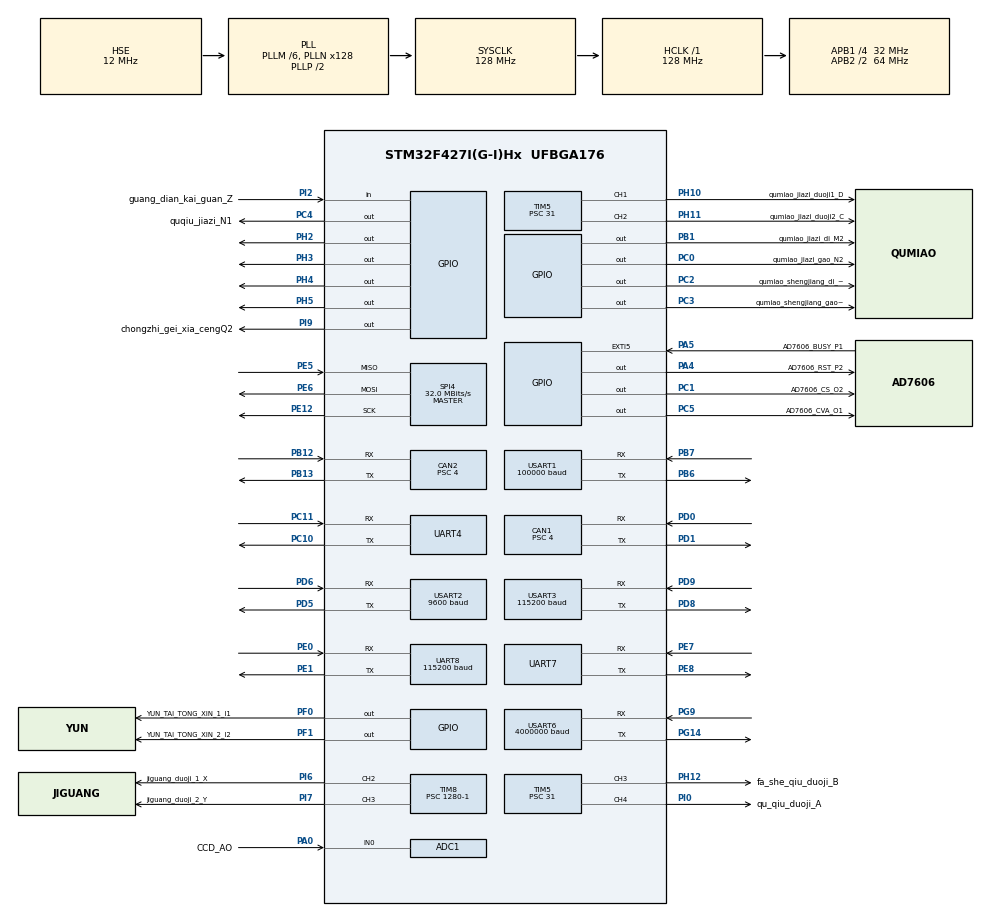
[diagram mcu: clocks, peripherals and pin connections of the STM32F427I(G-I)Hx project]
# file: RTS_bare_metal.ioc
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ADC1.Channel-0\#ChannelRegularConversion=ADC_CHANNEL_0
ADC1.NbrOfConversionFlag=1
ADC1.Rank-0\#ChannelRegularConversion=1
ADC1.SamplingTime-0\#ChannelRegularConversion=ADC_SAMPLETIME_3CYCLES
ADC1.master=1
CAN1.ABOM=DISABLE
CAN1.BS1=CAN_BS1_5TQ
CAN1.BS2=CAN_BS2_2TQ
CAN1.CalculateBaudRate=1000000
CAN1.CalculateTimeBit=1000
CAN1.CalculateTimeQuantum=125.0
CAN1.Mode=CAN_MODE_NORMAL
CAN1.NART=DISABLE
CAN1.Prescaler=4
CAN1.TXFP=DISABLE
CAN2.BS1=CAN_BS1_5TQ
CAN2.BS2=CAN_BS2_2TQ
CAN2.CalculateBaudRate=1000000
CAN2.CalculateTimeBit=1000
CAN2.CalculateTimeQuantum=125.0
CAN2.NART=DISABLE
CAN2.Prescaler=4
FREERTOS.Tasks01=defaultTask,24,128,StartDefaultTask,Default,NULL,Dynamic,NULL,NULL;M3508control,8,128,M3508controlTask,Default,NULL,Dynamic,NULL,NULL;myTest,8,128,myTestTask,Default,NULL,Dynamic,NULL,NULL;M8010control,8,128,M8010controlTask,Default,NULL,Dynamic,NULL,NULL;DS5160_duoji,8,128,DS5160,Default,NULL,Dynamic,NULL,NULL;shoot,8,128,shoot_task,Default,NULL,Dynamic,NULL,NULL;transmit_zero,8,128,transmit_zero_,Default,NULL,Dynamic,NULL,NULL;chuansongdai,8,128,chuansongdai_Task,Default,NULL,Dynamic,NULL,NULL;CCD,8,128,CCDTask,Default,NULL,Dynamic,NULL,NULL;GM6020,8,128,GM6020Task,Default,NULL,Dynamic,NULL,NULL;jiguang,8,128,jiguang_task,Default,NULL,Dynamic,NULL,NULL;IMU,8,128,IMU_TASK,Default,NULL,Dynamic,NULL,NULL
FREERTOS.configUSE_PREEMPTION=1
Mcu.Family=STM32F4
Mcu.Name=STM32F427I(G-I)Hx
Mcu.Package=UFBGA176
NVIC.CAN1_RX0_IRQn=true\:5\:0\:false\:false\:true\:true\:true\:true\:true
NVIC.CAN1_TX_IRQn=true\:5\:0\:false\:false\:true\:true\:true\:true\:true
NVIC.CAN2_RX1_IRQn=true\:5\:0\:false\:false\:true\:true\:true\:true\:true
NVIC.CAN2_TX_IRQn=true\:5\:0\:false\:false\:true\:true\:true\:true\:true
NVIC.EXTI9_5_IRQn=true\:5\:0\:false\:false\:true\:true\:true\:true\:true
NVIC.PriorityGroup=NVIC_PRIORITYGROUP_4
NVIC.UART4_IRQn=true\:5\:0\:false\:false\:true\:true\:true\:true\:true
NVIC.UART7_IRQn=true\:5\:0\:false\:false\:true\:true\:true\:true\:true
NVIC.UART8_IRQn=true\:5\:0\:false\:false\:true\:true\:true\:true\:true
NVIC.USART1_IRQn=true\:5\:0\:false\:false\:true\:true\:true\:true\:true
NVIC.USART2_IRQn=true\:5\:0\:false\:false\:true\:true\:true\:true\:true
NVIC.USART3_IRQn=true\:5\:0\:false\:false\:true\:true\:true\:true\:true
NVIC.USART6_IRQn=true\:5\:0\:false\:false\:true\:true\:true\:true\:true
PA0/WKUP.GPIO_Label=CCD_AO
PA0/WKUP.Signal=ADCx_IN0
PA1.Signal=S_TIM2_CH2
PA2.Signal=S_TIM2_CH3
PA3.Signal=S_TIM2_CH4
PA4.GPIO_Label=AD7606_RST_P2
PA4.Signal=GPIO_Output
PA5.GPIO_Label=AD7606_BUSY_P1
PA5.GPIO_ModeDefaultEXTI=GPIO_MODE_IT_FALLING
PA5.GPIO_PuPd=GPIO_PULLUP
PA5.Signal=GPXTI5
PB1.GPIO_Label=qumiao_jiazi_di_M2
PB1.Signal=GPIO_Output
PB12.Mode=CAN_Activate
PB12.Signal=CAN2_RX
PB13.Mode=CAN_Activate
PB13.Signal=CAN2_TX
PB6.Mode=Asynchronous
PB6.Signal=USART1_TX
PB7.Mode=Asynchronous
PB7.Signal=USART1_RX
PC0.GPIO_Label=qumiao_jiazi_gao_N2
PC0.Signal=GPIO_Output
PC1.GPIO_Label=AD7606_CS_O2
PC1.PinState=GPIO_PIN_SET
PC1.Signal=GPIO_Output
PC10.Mode=Asynchronous
PC10.Signal=UART4_TX
PC11.Mode=Asynchronous
PC11.Signal=UART4_RX
PC2.GPIO_Label=qumiao_shengjiang_di_L1
PC2.Signal=GPIO_Output
PC3.GPIO_Label=qumiao_shengjiang_gao_M1
PC3.Signal=GPIO_Output
PC4.GPIO_Label=quqiu_jiazi_N1
PC4.Signal=GPIO_Output
PC5.GPIO_Label=AD7606_CVA_O1
PC5.Signal=GPIO_Output
PD0.Mode=CAN_Activate
PD0.Signal=CAN1_RX
PD1.Mode=CAN_Activate
PD1.Signal=CAN1_TX
PD14.Signal=S_TIM4_CH3
PD15.Signal=S_TIM4_CH4
PD5.Mode=Asynchronous
PD5.Signal=USART2_TX
PD6.Mode=Asynchronous
PD6.Signal=USART2_RX
PD8.Mode=Asynchronous
PD8.Signal=USART3_TX
PD9.Mode=Asynchronous
PD9.Signal=USART3_RX
PE0.Mode=Asynchronous
PE0.Signal=UART8_RX
PE1.Mode=Asynchronous
PE1.Signal=UART8_TX
PE12.Mode=Full_Duplex_Master
PE12.Signal=SPI4_SCK
PE5.Mode=Full_Duplex_Master
PE5.Signal=SPI4_MISO
PE6.Mode=Full_Duplex_Master
PE6.Signal=SPI4_MOSI
PE7.Mode=Asynchronous
PE7.Signal=UART7_RX
PE8.Mode=Asynchronous
PE8.Signal=UART7_TX
PF0.GPIO_Label=YUN_TAI_TONG_XIN_1_I1
PF0.GPIO_PuPd=GPIO_PULLDOWN
PF0.Signal=GPIO_Output
PF1.GPIO_Label=YUN_TAI_TONG_XIN_2_I2
PF1.GPIO_PuPd=GPIO_PULLDOWN
PF1.Signal=GPIO_Output
PG14.Mode=Asynchronous
PG14.Signal=USART6_TX
PG9.Mode=Asynchronous
PG9.Signal=USART6_RX
PH0/OSC_IN.Mode=HSE-External-Oscillator
PH0/OSC_IN.Signal=RCC_OSC_IN
PH1/OSC_OUT.Mode=HSE-External-Oscillator
PH1/OSC_OUT.Signal=RCC_OSC_OUT
PH10.GPIO_Label=qumiao_jiazi_duoji1_D
PH10.Signal=S_TIM5_CH1
PH11.GPIO_Label=qumiao_jiazi_duoji2_C
PH11.Signal=S_TIM5_CH2
PH12.GPIO_Label=fa_she_qiu_duoji_B
PH12.Signal=S_TIM5_CH3
PH2.GPIO_PuPd=GPIO_PULLDOWN
PH2.Signal=GPIO_Output
PH3.GPIO_PuPd=GPIO_PULLDOWN
PH3.Signal=GPIO_Output
PH4.GPIO_PuPd=GPIO_PULLDOWN
PH4.Signal=GPIO_Output
PH5.GPIO_PuPd=GPIO_PULLDOWN
PH5.Signal=GPIO_Output
PH6.Signal=S_TIM12_CH1
PI0.GPIO_Label=qu_qiu_duoji_A
PI0.Signal=S_TIM5_CH4
PI2.GPIO_Label=guang_dian_kai_guan_Z
PI2.GPIO_PuPd=GPIO_NOPULL
PI2.Signal=GPIO_Input
PI6.GPIO_Label=jiguang_duoji_1_X
PI6.Signal=S_TIM8_CH2
PI7.GPIO_Label=jiguang_duoji_2_Y
PI7.Signal=S_TIM8_CH3
PI9.GPIO_Label=chongzhi_gei_xia_cengQ2
PI9.GPIO_PuPd=GPIO_PULLDOWN
PI9.Signal=GPIO_Output
ProjectManager.HeapSize=0x200
ProjectManager.StackSize=0x400
ProjectManager.TargetToolchain=EWARM V8.32
RCC.48MHZClocksFreq_Value=64000000
RCC.AHBFreq_Value=128000000
RCC.APB1CLKDivider=RCC_HCLK_DIV4
RCC.APB1Freq_Value=32000000
RCC.APB1TimFreq_Value=64000000
RCC.APB2CLKDivider=RCC_HCLK_DIV2
RCC.APB2Freq_Value=64000000
RCC.APB2TimFreq_Value=128000000
RCC.CortexFreq_Value=128000000
RCC.HCLKFreq_Value=128000000
RCC.HSE_VALUE=12000000
RCC.HSI_VALUE=16000000
RCC.LSE_VALUE=32768
RCC.PLLM=6
RCC.PLLN=128
RCC.PLLSourceVirtual=RCC_PLLSOURCE_HSE
RCC.SYSCLKFreq_VALUE=128000000
RCC.SYSCLKSource=RCC_SYSCLKSOURCE_PLLCLK
RCC.VCOOutputFreq_Value=256000000
SH.ADCx_IN0.0=ADC1_IN0,IN0
SH.S_TIM12_CH1.0=TIM12_CH1
SH.S_TIM2_CH2.0=TIM2_CH2
SH.S_TIM2_CH3.0=TIM2_CH3
SH.S_TIM2_CH4.0=TIM2_CH4
SH.S_TIM4_CH3.0=TIM4_CH3
SH.S_TIM4_CH4.0=TIM4_CH4
SH.S_TIM5_CH1.0=TIM5_CH1,PWM Generation1 CH1
SH.S_TIM5_CH2.0=TIM5_CH2,PWM Generation2 CH2
SH.S_TIM5_CH3.0=TIM5_CH3,PWM Generation3 CH3
SH.S_TIM5_CH4.0=TIM5_CH4,PWM Generation4 CH4
SH.S_TIM8_CH2.0=TIM8_CH2,PWM Generation2 CH2
SH.S_TIM8_CH3.0=TIM8_CH3,PWM Generation3 CH3
SPI4.CLKPolarity=SPI_POLARITY_HIGH
SPI4.CalculateBaudRate=32.0 MBits/s
SPI4.DataSize=SPI_DATASIZE_16BIT
SPI4.Direction=SPI_DIRECTION_2LINES
SPI4.Mode=SPI_MODE_MASTER
SPI4.VirtualType=VM_MASTER
TIM5.Channel-PWM\ Generation1\ CH1=TIM_CHANNEL_1
TIM5.Channel-PWM\ Generation2\ CH2=TIM_CHANNEL_2
TIM5.Channel-PWM\ Generation3\ CH3=TIM_CHANNEL_3
TIM5.Channel-PWM\ Generation4\ CH4=TIM_CHANNEL_4
TIM5.Period=39999
TIM5.Prescaler=31
TIM5.Pulse-PWM\ Generation1\ CH1=1750
TIM5.Pulse-PWM\ Generation2\ CH2=3600
TIM5.Pulse-PWM\ Generation3\ CH3=1000
TIM5.Pulse-PWM\ Generation4\ CH4=1000
TIM8.Channel-PWM\ Generation2\ CH2=TIM_CHANNEL_2
TIM8.Channel-PWM\ Generation3\ CH3=TIM_CHANNEL_3
TIM8.Period=2000-1
TIM8.Prescaler=1280-1
TIM8.Pulse-PWM\ Generation2\ CH2=113
TIM8.Pulse-PWM\ Generation3\ CH3=145
UART4.VirtualMode=Asynchronous
UART7.VirtualMode=Asynchronous
UART8.BaudRate=115200
UART8.VirtualMode=Asynchronous
USART1.BaudRate=100000
USART1.Mode=MODE_RX
USART1.StopBits=STOPBITS_2
USART1.VirtualMode=VM_ASYNC
USART2.BaudRate=9600
USART2.VirtualMode=VM_ASYNC
USART3.BaudRate=115200
USART3.VirtualMode=VM_ASYNC
USART6.BaudRate=4000000
USART6.Mode=MODE_TX_RX
USART6.VirtualMode=VM_ASYNC
VP_FREERTOS_VS_CMSIS_V2.Mode=CMSIS_V2
board=custom

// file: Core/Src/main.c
/* USER CODE BEGIN Header */
/**
 ******************************************************************************
 * @file           : main.c
 * @brief          : Main program body
 ******************************************************************************
 * @attention
 *
 * Copyright (c) 2023 STMicroelectronics.
 * All rights reserved.
 *
 * This software is licensed under terms that can be found in the LICENSE file
 * in the root directory of this software component.
 * If no LICENSE file comes with this software, it is provided AS-IS.
 *
 ******************************************************************************
 */
/* USER CODE END Header */
#include "main.h"
#include "cmsis_os.h"

/* USER CODE BEGIN PD */
#define duoji_ok 1
/* USER CODE END PD */

/* USER CODE BEGIN PM */

MOTOR_send MOTOR_M8010_SEND;
MOTOR_recv MOTOR_M8010_RECV;
uint8_t action_ok = 0;
uint8_t key_pressed = 0;

uint16_t ADV[128] = {0}; // ����CCD���??
uint8_t CCD_Zhongzhi = 0, CCD_Yuzhi = 0;
// uint8_t SBUS_Data_Low[17] = {0};
// uint8_t SBUS_Data_High[17] = {0};
// uint8_t SBUS_Transmit_Flag = 0;
// uint8_t SBUS_H_L = 0;

uint8_t atest = 10;
uint16_t fff = 0;
uint8_t bin = 0;

uint8_t fangmiao = 0;
uint8_t qumiao = 0;
uint8_t chongzhi = 1;
uint8_t flag_ad7606 = 0;
int16_t ad7606_value[4] = {0};
uint8_t SBUS_done = 0;
uint8_t jishu_zhuanxiang = 0;
uint8_t staus_dipan = 0;
uint8_t fa_qiu_zhuan_xiang_start = 0;
uint8_t faqiuduoji = 0;
uint8_t fa_qiu_done = 0;
uint8_t quqiu_duoji = 0;
uint8_t ball_pos_;
uint8_t yuntai_finish = 0;
double init_pos;
double need_pos;
double set_T;
double a = 0;
double t_now = 3;
uint8_t pos_change_flag = 0;
float rotate_angle[12] = {53.0, 50.0, 52.0, 45.0, 25.0, 15.0, /**/ -22.6, -20.67, -12.57, 2.036, 10.246, 26.81}; //;6:3.750399827957153322,6.2553963661193847����2500������10000//5��6.0343108177185058����һ��//4��5.140189647674560544����һ��//3��3.5250959396362304����һ��//2��2.6181278228759765����һ��//1��7.8846794366836547E-1����һ��
int16_t back_rotate_speed[12] = {11000, 14000, 13000, 13000, 13000, 13000, /*�Գ�*/ 11000, 11000, 11000 + 1000, 11000, 11000, 11000};
int16_t shoot_speed_right[12] = {3000 + 1000, 3200 + 600, 2800 + 600, 2700 + 300, 2700 + 300, 2700 + 300, /**/ 2500 + 600, 2500 + 500, 3200, 2500, 2500, 2500};
int16_t shoot_speed_left[12] = {1800 + 1000, 1500 + 600, 1600 + 600, 1500 + 300, 1500 + 300, 1500 + 300, /**/ 2500 + 600, 2500 + 500, 3200, 2500, 2500, 2500};
//int16_t shoot_speed_right[6] = {2000,1700,1800,1700,1500,1100};
float yuntai_init_pos = 0;

int16_t quqiu_duty = 3000;

uint8_t action_us[4] = {0};
// IMU�������

raw_t raw = {0};
uint8_t decode_succ = 0;
uint8_t rx_buf[10];

imu imu_data;
/* USER CODE END PM */

ADC_HandleTypeDef hadc1;

CAN_HandleTypeDef hcan1;
CAN_HandleTypeDef hcan2;

SPI_HandleTypeDef hspi4;

TIM_HandleTypeDef htim5;
TIM_HandleTypeDef htim8;

UART_HandleTypeDef huart4;
UART_HandleTypeDef huart7;
UART_HandleTypeDef huart8;
UART_HandleTypeDef huart1;
UART_HandleTypeDef huart2;
UART_HandleTypeDef huart3;
UART_HandleTypeDef huart6;

/* Definitions for defaultTask */
osThreadId_t defaultTaskHandle;
const osThreadAttr_t defaultTask_attributes = {
    .name = "defaultTask",
    .stack_size = 128 * 4,
    .priority = (osPriority_t)osPriorityNormal,
};
/* Definitions for M3508control */
osThreadId_t M3508controlHandle;
const osThreadAttr_t M3508control_attributes = {
    .name = "M3508control",
    .stack_size = 128 * 4,
    .priority = (osPriority_t)osPriorityLow,
};
/* Definitions for myTest */
osThreadId_t myTestHandle;
const osThreadAttr_t myTest_attributes = {
    .name = "myTest",
    .stack_size = 128 * 4,
    .priority = (osPriority_t)osPriorityLow,
};
/* Definitions for M8010control */
osThreadId_t M8010controlHandle;
const osThreadAttr_t M8010control_attributes = {
    .name = "M8010control",
    .stack_size = 128 * 4,
    .priority = (osPriority_t)osPriorityLow,
};
/* Definitions for DS5160_duoji */
osThreadId_t DS5160_duojiHandle;
const osThreadAttr_t DS5160_duoji_attributes = {
    .name = "DS5160_duoji",
    .stack_size = 128 * 4,
    .priority = (osPriority_t)osPriorityLow,
};
/* Definitions for shoot */
osThreadId_t shootHandle;
const osThreadAttr_t shoot_attributes = {
    .name = "shoot",
    .stack_size = 128 * 4,
    .priority = (osPriority_t)osPriorityLow,
};
/* Definitions for transmit_zero */
osThreadId_t transmit_zeroHandle;
const osThreadAttr_t transmit_zero_attributes = {
    .name = "transmit_zero",
    .stack_size = 128 * 4,
    .priority = (osPriority_t)osPriorityLow,
};
/* Definitions for chuansongdai */
osThreadId_t chuansongdaiHandle;
const osThreadAttr_t chuansongdai_attributes = {
    .name = "chuansongdai",
    .stack_size = 128 * 4,
    .priority = (osPriority_t)osPriorityLow,
};
/* Definitions for CCD */
osThreadId_t CCDHandle;
const osThreadAttr_t CCD_attributes = {
    .name = "CCD",
    .stack_size = 128 * 4,
    .priority = (osPriority_t)osPriorityLow,
};
/* Definitions for GM6020 */
osThreadId_t GM6020Handle;
const osThreadAttr_t GM6020_attributes = {
    .name = "GM6020",
    .stack_size = 128 * 4,
    .priority = (osPriority_t)osPriorityLow,
};
/* Definitions for jiguang */
osThreadId_t jiguangHandle;
const osThreadAttr_t jiguang_attributes = {
    .name = "jiguang",
    .stack_size = 128 * 4,
    .priority = (osPriority_t)osPriorityLow,
};
/* Definitions for IMU */
osThreadId_t IMUHandle;
const osThreadAttr_t IMU_attributes = {
    .name = "IMU",
    .stack_size = 128 * 4,
    .priority = (osPriority_t)osPriorityLow,
};
/* USER CODE BEGIN PV */
uint16_t error_count = 0;
/* USER CODE END PV */

void SystemClock_Config(void);
static void MX_GPIO_Init(void);
static void MX_CAN1_Init(void);
static void MX_CAN2_Init(void);
static void MX_UART7_Init(void);
static void MX_UART8_Init(void);
static void MX_USART1_UART_Init(void);
static void MX_USART2_UART_Init(void);
static void MX_USART3_UART_Init(void);
static void MX_USART6_UART_Init(void);
static void MX_TIM5_Init(void);
static void MX_UART4_Init(void);
static void MX_ADC1_Init(void);
static void MX_SPI4_Init(void);
static void MX_TIM8_Init(void);
void StartDefaultTask(void *argument);
void M3508controlTask(void *argument);
void myTestTask(void *argument);
void M8010controlTask(void *argument);
void DS5160(void *argument);
void shoot_task(void *argument);
void transmit_zero_(void *argument);
void chuansongdai_Task(void *argument);
void CCDTask(void *argument);
void GM6020Task(void *argument);
void jiguang_task(void *argument);
void IMU_TASK(void *argument);

     int main(void) {

  /* MCU Configuration--------------------------------------------------------*/

  /* Reset of all peripherals, Initializes the Flash interface and the Systick.
   */
  HAL_Init();

  /* Configure the system clock */
  SystemClock_Config();

  /* Initialize all configured peripherals */
  MX_GPIO_Init();
  MX_CAN1_Init();
  MX_CAN2_Init();
  MX_UART7_Init();
  MX_UART8_Init();
  MX_USART1_UART_Init();
  MX_USART2_UART_Init();
  MX_USART3_UART_Init();
  MX_USART6_UART_Init();
  MX_TIM5_Init();
  MX_UART4_Init();
  MX_ADC1_Init();
  MX_SPI4_Init();
  MX_TIM8_Init();

  /* Init scheduler */
  osKernelInitialize();

  /* Create the thread(s) */
  /* creation of defaultTask */
  defaultTaskHandle =
      osThreadNew(StartDefaultTask, NULL, &defaultTask_attributes);

  /* creation of M3508control */
  M3508controlHandle =
      osThreadNew(M3508controlTask, NULL, &M3508control_attributes);

  /* creation of myTest */
  myTestHandle = osThreadNew(myTestTask, NULL, &myTest_attributes);

  /* creation of M8010control */
  M8010controlHandle =
      osThreadNew(M8010controlTask, NULL, &M8010control_attributes);

  /* creation of DS5160_duoji */
  DS5160_duojiHandle = osThreadNew(DS5160, NULL, &DS5160_duoji_attributes);

  /* creation of shoot */
  shootHandle = osThreadNew(shoot_task, NULL, &shoot_attributes);

  /* creation of transmit_zero */
  transmit_zeroHandle =
      osThreadNew(transmit_zero_, NULL, &transmit_zero_attributes);

  /* creation of chuansongdai */
  chuansongdaiHandle =
      osThreadNew(chuansongdai_Task, NULL, &chuansongdai_attributes);

  /* creation of CCD */
  CCDHandle = osThreadNew(CCDTask, NULL, &CCD_attributes);

  /* creation of GM6020 */
  GM6020Handle = osThreadNew(GM6020Task, NULL, &GM6020_attributes);

  /* creation of jiguang */
  jiguangHandle = osThreadNew(jiguang_task, NULL, &jiguang_attributes);

  /* creation of IMU */
  IMUHandle = osThreadNew(IMU_TASK, NULL, &IMU_attributes);

  /* Start scheduler */
  osKernelStart();

  /* We should never get here as control is now taken by the scheduler */

  /* Infinite loop */
  while (1) {

  }
}

void SystemClock_Config(void) {
  RCC_OscInitTypeDef RCC_OscInitStruct = {0};
  RCC_ClkInitTypeDef RCC_ClkInitStruct = {0};

  /** Configure the main internal regulator output voltage
   */
  __HAL_RCC_PWR_CLK_ENABLE();
  __HAL_PWR_VOLTAGESCALING_CONFIG(PWR_REGULATOR_VOLTAGE_SCALE2);

  /** Initializes the RCC Oscillators according to the specified parameters
   * in the RCC_OscInitTypeDef structure.
   */
  RCC_OscInitStruct.OscillatorType = RCC_OSCILLATORTYPE_HSE;
  RCC_OscInitStruct.HSEState = RCC_HSE_ON;
  RCC_OscInitStruct.PLL.PLLState = RCC_PLL_ON;
  RCC_OscInitStruct.PLL.PLLSource = RCC_PLLSOURCE_HSE;
  RCC_OscInitStruct.PLL.PLLM = 6;
  RCC_OscInitStruct.PLL.PLLN = 128;
  RCC_OscInitStruct.PLL.PLLP = RCC_PLLP_DIV2;
  RCC_OscInitStruct.PLL.PLLQ = 4;
  if (HAL_RCC_OscConfig(&RCC_OscInitStruct) != HAL_OK) {
    Error_Handler();
  }

  /** Initializes the CPU, AHB and APB buses clocks
   */
  RCC_ClkInitStruct.ClockType = RCC_CLOCKTYPE_HCLK | RCC_CLOCKTYPE_SYSCLK |
                                RCC_CLOCKTYPE_PCLK1 | RCC_CLOCKTYPE_PCLK2;
  RCC_ClkInitStruct.SYSCLKSource = RCC_SYSCLKSOURCE_PLLCLK;
  RCC_ClkInitStruct.AHBCLKDivider = RCC_SYSCLK_DIV1;
  RCC_ClkInitStruct.APB1CLKDivider = RCC_HCLK_DIV4;
  RCC_ClkInitStruct.APB2CLKDivider = RCC_HCLK_DIV2;

  if (HAL_RCC_ClockConfig(&RCC_ClkInitStruct, FLASH_LATENCY_4) != HAL_OK) {
    Error_Handler();
  }
}

static void MX_ADC1_Init(void) {

  ADC_ChannelConfTypeDef sConfig = {0};

  /** Configure the global features of the ADC (Clock, Resolution, Data
   * Alignment and number of conversion)
   */
  hadc1.Instance = ADC1;
  hadc1.Init.ClockPrescaler = ADC_CLOCK_SYNC_PCLK_DIV2;
  hadc1.Init.Resolution = ADC_RESOLUTION_12B;
  hadc1.Init.ScanConvMode = DISABLE;
  hadc1.Init.ContinuousConvMode = DISABLE;
  hadc1.Init.DiscontinuousConvMode = DISABLE;
  hadc1.Init.ExternalTrigConvEdge = ADC_EXTERNALTRIGCONVEDGE_NONE;
  hadc1.Init.ExternalTrigConv = ADC_SOFTWARE_START;
  hadc1.Init.DataAlign = ADC_DATAALIGN_RIGHT;
  hadc1.Init.NbrOfConversion = 1;
  hadc1.Init.DMAContinuousRequests = DISABLE;
  hadc1.Init.EOCSelection = ADC_EOC_SINGLE_CONV;
  if (HAL_ADC_Init(&hadc1) != HAL_OK) {
    Error_Handler();
  }

  /** Configure for the selected ADC regular channel its corresponding rank in
   * the sequencer and its sample time.
   */
  sConfig.Channel = ADC_CHANNEL_0;
  sConfig.Rank = 1;
  sConfig.SamplingTime = ADC_SAMPLETIME_3CYCLES;
  if (HAL_ADC_ConfigChannel(&hadc1, &sConfig) != HAL_OK) {
    Error_Handler();
  }
}

static void MX_CAN1_Init(void) {

  hcan1.Instance = CAN1;
  hcan1.Init.Prescaler = 4;
  hcan1.Init.Mode = CAN_MODE_NORMAL;
  hcan1.Init.SyncJumpWidth = CAN_SJW_1TQ;
  hcan1.Init.TimeSeg1 = CAN_BS1_5TQ;
  hcan1.Init.TimeSeg2 = CAN_BS2_2TQ;
  hcan1.Init.TimeTriggeredMode = DISABLE;
  hcan1.Init.AutoBusOff = DISABLE;
  hcan1.Init.AutoWakeUp = DISABLE;
  hcan1.Init.AutoRetransmission = DISABLE;
  hcan1.Init.ReceiveFifoLocked = DISABLE;
  hcan1.Init.TransmitFifoPriority = DISABLE;
  if (HAL_CAN_Init(&hcan1) != HAL_OK) {
    Error_Handler();
  }
  /* USER CODE BEGIN CAN1_Init 2 */
  CAN_FilterTypeDef can_filter_st;
  can_filter_st.FilterActivation = ENABLE;
  can_filter_st.FilterMode = CAN_FILTERMODE_IDMASK;
  can_filter_st.FilterScale = CAN_FILTERSCALE_32BIT;
  can_filter_st.FilterIdHigh = 0x0000;
  can_filter_st.FilterIdLow = 0x0000;
  can_filter_st.FilterMaskIdHigh = 0x0000;
  can_filter_st.FilterMaskIdLow = 0x0000;
  can_filter_st.FilterBank = 0;
  can_filter_st.FilterFIFOAssignment = CAN_RX_FIFO0;
  HAL_CAN_ConfigFilter(&hcan1, &can_filter_st);
  HAL_CAN_Start(&hcan1);
  HAL_CAN_ActivateNotification(&hcan1, CAN_IT_RX_FIFO0_MSG_PENDING);
  /* USER CODE END CAN1_Init 2 */
}

static void MX_CAN2_Init(void) {

  hcan2.Instance = CAN2;
  hcan2.Init.Prescaler = 4;
  hcan2.Init.Mode = CAN_MODE_NORMAL;
  hcan2.Init.SyncJumpWidth = CAN_SJW_1TQ;
  hcan2.Init.TimeSeg1 = CAN_BS1_5TQ;
  hcan2.Init.TimeSeg2 = CAN_BS2_2TQ;
  hcan2.Init.TimeTriggeredMode = DISABLE;
  hcan2.Init.AutoBusOff = DISABLE;
  hcan2.Init.AutoWakeUp = DISABLE;
  hcan2.Init.AutoRetransmission = DISABLE;
  hcan2.Init.ReceiveFifoLocked = DISABLE;
  hcan2.Init.TransmitFifoPriority = DISABLE;
  if (HAL_CAN_Init(&hcan2) != HAL_OK) {
    Error_Handler();
  }
  /* USER CODE BEGIN CAN2_Init 2 */
  CAN_FilterTypeDef can_filter_st;
  can_filter_st.FilterActivation = ENABLE;
  can_filter_st.FilterMode = CAN_FILTERMODE_IDMASK;
  can_filter_st.FilterScale = CAN_FILTERSCALE_32BIT;
  can_filter_st.FilterIdHigh = 0x0000;
  can_filter_st.FilterIdLow = 0x0000;
  can_filter_st.FilterMaskIdHigh = 0x0000;
  can_filter_st.FilterMaskIdLow = 0x0000;
  can_filter_st.FilterBank = 14;
  can_filter_st.SlaveStartFilterBank = 14;
  can_filter_st.FilterFIFOAssignment = CAN_RX_FIFO1;
  HAL_CAN_ConfigFilter(&hcan2, &can_filter_st);
  HAL_CAN_Start(&hcan2);
  HAL_CAN_ActivateNotification(&hcan2, CAN_IT_RX_FIFO1_MSG_PENDING);
  /* USER CODE END CAN2_Init 2 */
}

static void MX_SPI4_Init(void) {

  /* SPI4 parameter configuration*/
  hspi4.Instance = SPI4;
  hspi4.Init.Mode = SPI_MODE_MASTER;
  hspi4.Init.Direction = SPI_DIRECTION_2LINES;
  hspi4.Init.DataSize = SPI_DATASIZE_16BIT;
  hspi4.Init.CLKPolarity = SPI_POLARITY_HIGH;
  hspi4.Init.CLKPhase = SPI_PHASE_1EDGE;
  hspi4.Init.NSS = SPI_NSS_SOFT;
  hspi4.Init.BaudRatePrescaler = SPI_BAUDRATEPRESCALER_2;
  hspi4.Init.FirstBit = SPI_FIRSTBIT_MSB;
  hspi4.Init.TIMode = SPI_TIMODE_DISABLE;
  hspi4.Init.CRCCalculation = SPI_CRCCALCULATION_DISABLE;
  hspi4.Init.CRCPolynomial = 10;
  if (HAL_SPI_Init(&hspi4) != HAL_OK) {
    Error_Handler();
  }
}

static void MX_TIM5_Init(void) {

  TIM_MasterConfigTypeDef sMasterConfig = {0};
  TIM_OC_InitTypeDef sConfigOC = {0};

  htim5.Instance = TIM5;
  htim5.Init.Prescaler = 31;
  htim5.Init.CounterMode = TIM_COUNTERMODE_UP;
  htim5.Init.Period = 39999;
  htim5.Init.ClockDivision = TIM_CLOCKDIVISION_DIV1;
  htim5.Init.AutoReloadPreload = TIM_AUTORELOAD_PRELOAD_DISABLE;
  if (HAL_TIM_PWM_Init(&htim5) != HAL_OK) {
    Error_Handler();
  }
  sMasterConfig.MasterOutputTrigger = TIM_TRGO_RESET;
  sMasterConfig.MasterSlaveMode = TIM_MASTERSLAVEMODE_DISABLE;
  if (HAL_TIMEx_MasterConfigSynchronization(&htim5, &sMasterConfig) != HAL_OK) {
    Error_Handler();
  }
  sConfigOC.OCMode = TIM_OCMODE_PWM1;
  sConfigOC.Pulse = 1750;
  sConfigOC.OCPolarity = TIM_OCPOLARITY_HIGH;
  sConfigOC.OCFastMode = TIM_OCFAST_DISABLE;
  if (HAL_TIM_PWM_ConfigChannel(&htim5, &sConfigOC, TIM_CHANNEL_1) != HAL_OK) {
    Error_Handler();
  }
  sConfigOC.Pulse = 3600;
  if (HAL_TIM_PWM_ConfigChannel(&htim5, &sConfigOC, TIM_CHANNEL_2) != HAL_OK) {
    Error_Handler();
  }
  sConfigOC.Pulse = 1000;
  if (HAL_TIM_PWM_ConfigChannel(&htim5, &sConfigOC, TIM_CHANNEL_3) != HAL_OK) {
    Error_Handler();
  }
  if (HAL_TIM_PWM_ConfigChannel(&htim5, &sConfigOC, TIM_CHANNEL_4) != HAL_OK) {
    Error_Handler();
  }
  HAL_TIM_MspPostInit(&htim5);
}

static void MX_TIM8_Init(void) {

  TIM_MasterConfigTypeDef sMasterConfig = {0};
  TIM_OC_InitTypeDef sConfigOC = {0};
  TIM_BreakDeadTimeConfigTypeDef sBreakDeadTimeConfig = {0};

  htim8.Instance = TIM8;
  htim8.Init.Prescaler = 1280 - 1;
  htim8.Init.CounterMode = TIM_COUNTERMODE_UP;
  htim8.Init.Period = 2000 - 1;
  htim8.Init.ClockDivision = TIM_CLOCKDIVISION_DIV1;
  htim8.Init.RepetitionCounter = 0;
  htim8.Init.AutoReloadPreload = TIM_AUTORELOAD_PRELOAD_DISABLE;
  if (HAL_TIM_PWM_Init(&htim8) != HAL_OK) {
    Error_Handler();
  }
  sMasterConfig.MasterOutputTrigger = TIM_TRGO_RESET;
  sMasterConfig.MasterSlaveMode = TIM_MASTERSLAVEMODE_DISABLE;
  if (HAL_TIMEx_MasterConfigSynchronization(&htim8, &sMasterConfig) != HAL_OK) {
    Error_Handler();
  }
  sConfigOC.OCMode = TIM_OCMODE_PWM1;
  sConfigOC.Pulse = 113;
  sConfigOC.OCPolarity = TIM_OCPOLARITY_HIGH;
  sConfigOC.OCNPolarity = TIM_OCNPOLARITY_HIGH;
  sConfigOC.OCFastMode = TIM_OCFAST_DISABLE;
  sConfigOC.OCIdleState = TIM_OCIDLESTATE_RESET;
  sConfigOC.OCNIdleState = TIM_OCNIDLESTATE_RESET;
  if (HAL_TIM_PWM_ConfigChannel(&htim8, &sConfigOC, TIM_CHANNEL_2) != HAL_OK) {
    Error_Handler();
  }
  sConfigOC.Pulse = 145;
  if (HAL_TIM_PWM_ConfigChannel(&htim8, &sConfigOC, TIM_CHANNEL_3) != HAL_OK) {
    Error_Handler();
  }
  sBreakDeadTimeConfig.OffStateRunMode = TIM_OSSR_DISABLE;
  sBreakDeadTimeConfig.OffStateIDLEMode = TIM_OSSI_DISABLE;
  sBreakDeadTimeConfig.LockLevel = TIM_LOCKLEVEL_OFF;
  sBreakDeadTimeConfig.DeadTime = 0;
  sBreakDeadTimeConfig.BreakState = TIM_BREAK_DISABLE;
  sBreakDeadTimeConfig.BreakPolarity = TIM_BREAKPOLARITY_HIGH;
  sBreakDeadTimeConfig.AutomaticOutput = TIM_AUTOMATICOUTPUT_DISABLE;
  if (HAL_TIMEx_ConfigBreakDeadTime(&htim8, &sBreakDeadTimeConfig) != HAL_OK) {
    Error_Handler();
  }
  HAL_TIM_MspPostInit(&htim8);
}

static void MX_UART4_Init(void) {

  huart4.Instance = UART4;
  huart4.Init.BaudRate = 115200;
  huart4.Init.WordLength = UART_WORDLENGTH_8B;
  huart4.Init.StopBits = UART_STOPBITS_1;
  huart4.Init.Parity = UART_PARITY_NONE;
  huart4.Init.Mode = UART_MODE_TX_RX;
  huart4.Init.HwFlowCtl = UART_HWCONTROL_NONE;
  huart4.Init.OverSampling = UART_OVERSAMPLING_16;
  if (HAL_UART_Init(&huart4) != HAL_OK) {
    Error_Handler();
  }
}

static void MX_UART7_Init(void) {

  huart7.Instance = UART7;
  huart7.Init.BaudRate = 115200;
  huart7.Init.WordLength = UART_WORDLENGTH_8B;
  huart7.Init.StopBits = UART_STOPBITS_1;
  huart7.Init.Parity = UART_PARITY_NONE;
  huart7.Init.Mode = UART_MODE_TX_RX;
  huart7.Init.HwFlowCtl = UART_HWCONTROL_NONE;
  huart7.Init.OverSampling = UART_OVERSAMPLING_16;
  if (HAL_UART_Init(&huart7) != HAL_OK) {
    Error_Handler();
  }
  /* USER CODE BEGIN UART7_Init 2 */
  HAL_UART_Receive_IT(&huart7, &bin, 1);

  /* USER CODE END UART7_Init 2 */
}

static void MX_UART8_Init(void) {

  huart8.Instance = UART8;
  huart8.Init.BaudRate = 115200;
  huart8.Init.WordLength = UART_WORDLENGTH_8B;
  huart8.Init.StopBits = UART_STOPBITS_1;
  huart8.Init.Parity = UART_PARITY_NONE;
  huart8.Init.Mode = UART_MODE_TX_RX;
  huart8.Init.HwFlowCtl = UART_HWCONTROL_NONE;
  huart8.Init.OverSampling = UART_OVERSAMPLING_16;
  if (HAL_UART_Init(&huart8) != HAL_OK) {
    Error_Handler();
  }
  /* USER CODE BEGIN UART8_Init 2 */
  HAL_UART_Receive_IT(&huart8, &rx_buf[0], 1);
  /* USER CODE END UART8_Init 2 */
}

static void MX_USART1_UART_Init(void) {

  huart1.Instance = USART1;
  huart1.Init.BaudRate = 100000;
  huart1.Init.WordLength = UART_WORDLENGTH_8B;
  huart1.Init.StopBits = UART_STOPBITS_2;
  huart1.Init.Parity = UART_PARITY_NONE;
  huart1.Init.Mode = UART_MODE_RX;
  huart1.Init.HwFlowCtl = UART_HWCONTROL_NONE;
  huart1.Init.OverSampling = UART_OVERSAMPLING_16;
  if (HAL_UART_Init(&huart1) != HAL_OK) {
    Error_Handler();
  }
  /* USER CODE BEGIN USART1_Init 2 */
  HAL_UART_Receive_IT(&huart1, &SBUS_Receive_ch, 1);
  /* USER CODE END USART1_Init 2 */
}

static void MX_USART2_UART_Init(void) {

  huart2.Instance = USART2;
  huart2.Init.BaudRate = 9600;
  huart2.Init.WordLength = UART_WORDLENGTH_8B;
  huart2.Init.StopBits = UART_STOPBITS_1;
  huart2.Init.Parity = UART_PARITY_NONE;
  huart2.Init.Mode = UART_MODE_TX_RX;
  huart2.Init.HwFlowCtl = UART_HWCONTROL_NONE;
  huart2.Init.OverSampling = UART_OVERSAMPLING_16;
  if (HAL_UART_Init(&huart2) != HAL_OK) {
    Error_Handler();
  }
}

static void MX_USART3_UART_Init(void) {

  huart3.Instance = USART3;
  huart3.Init.BaudRate = 115200;
  huart3.Init.WordLength = UART_WORDLENGTH_8B;
  huart3.Init.StopBits = UART_STOPBITS_1;
  huart3.Init.Parity = UART_PARITY_NONE;
  huart3.Init.Mode = UART_MODE_TX_RX;
  huart3.Init.HwFlowCtl = UART_HWCONTROL_NONE;
  huart3.Init.OverSampling = UART_OVERSAMPLING_16;
  if (HAL_UART_Init(&huart3) != HAL_OK) {
    Error_Handler();
  }
  /* USER CODE BEGIN USART3_Init 2 */
  HAL_UART_Receive_IT(&huart3, &SBUS_ours_Receive_ch, 1);
  /* USER CODE END USART3_Init 2 */
}

static void MX_USART6_UART_Init(void) {

  huart6.Instance = USART6;
  huart6.Init.BaudRate = 4000000;
  huart6.Init.WordLength = UART_WORDLENGTH_8B;
  huart6.Init.StopBits = UART_STOPBITS_1;
  huart6.Init.Parity = UART_PARITY_NONE;
  huart6.Init.Mode = UART_MODE_TX_RX;
  huart6.Init.HwFlowCtl = UART_HWCONTROL_NONE;
  huart6.Init.OverSampling = UART_OVERSAMPLING_16;
  if (HAL_UART_Init(&huart6) != HAL_OK) {
    Error_Handler();
  }
}

static void MX_GPIO_Init(void) {
  GPIO_InitTypeDef GPIO_InitStruct = {0};

  /* GPIO Ports Clock Enable */
  __HAL_RCC_GPIOE_CLK_ENABLE();
  __HAL_RCC_GPIOG_CLK_ENABLE();
  __HAL_RCC_GPIOB_CLK_ENABLE();
  __HAL_RCC_GPIOD_CLK_ENABLE();
  __HAL_RCC_GPIOC_CLK_ENABLE();
  __HAL_RCC_GPIOI_CLK_ENABLE();
  __HAL_RCC_GPIOF_CLK_ENABLE();
  __HAL_RCC_GPIOH_CLK_ENABLE();
  __HAL_RCC_GPIOA_CLK_ENABLE();

  /*Configure GPIO pin Output Level */
  HAL_GPIO_WritePin(chongzhi_gei_xia_cengQ2_GPIO_Port,
                    chongzhi_gei_xia_cengQ2_Pin, GPIO_PIN_RESET);

  /*Configure GPIO pin Output Level */
  HAL_GPIO_WritePin(GPIOF,
                    YUN_TAI_TONG_XIN_1_I1_Pin | YUN_TAI_TONG_XIN_2_I2_Pin,
                    GPIO_PIN_RESET);

  /*Configure GPIO pin Output Level */
  HAL_GPIO_WritePin(GPIOH, GPIO_PIN_2 | GPIO_PIN_3 | GPIO_PIN_4 | GPIO_PIN_5,
                    GPIO_PIN_RESET);

  /*Configure GPIO pin Output Level */
  HAL_GPIO_WritePin(GPIOC,
                    qumiao_jiazi_gao_N2_Pin | qumiao_shengjiang_di_L1_Pin |
                        qumiao_shengjiang_gao_M1_Pin | quqiu_jiazi_N1_Pin |
                        AD7606_CVA_O1_Pin,
                    GPIO_PIN_RESET);

  /*Configure GPIO pin Output Level */
  HAL_GPIO_WritePin(AD7606_CS_O2_GPIO_Port, AD7606_CS_O2_Pin, GPIO_PIN_SET);

  /*Configure GPIO pin Output Level */
  HAL_GPIO_WritePin(AD7606_RST_P2_GPIO_Port, AD7606_RST_P2_Pin, GPIO_PIN_RESET);

  /*Configure GPIO pin Output Level */
  HAL_GPIO_WritePin(qumiao_jiazi_di_M2_GPIO_Port, qumiao_jiazi_di_M2_Pin,
                    GPIO_PIN_RESET);

  /*Configure GPIO pin : guang_dian_kai_guan_Z_Pin */
  GPIO_InitStruct.Pin = guang_dian_kai_guan_Z_Pin;
  GPIO_InitStruct.Mode = GPIO_MODE_INPUT;
  GPIO_InitStruct.Pull = GPIO_NOPULL;
  HAL_GPIO_Init(guang_dian_kai_guan_Z_GPIO_Port, &GPIO_InitStruct);

  /*Configure GPIO pin : chongzhi_gei_xia_cengQ2_Pin */
  GPIO_InitStruct.Pin = chongzhi_gei_xia_cengQ2_Pin;
  GPIO_InitStruct.Mode = GPIO_MODE_OUTPUT_PP;
  GPIO_InitStruct.Pull = GPIO_PULLDOWN;
  GPIO_InitStruct.Speed = GPIO_SPEED_FREQ_LOW;
  HAL_GPIO_Init(chongzhi_gei_xia_cengQ2_GPIO_Port, &GPIO_InitStruct);

  /*Configure GPIO pins : YUN_TAI_TONG_XIN_1_I1_Pin YUN_TAI_TONG_XIN_2_I2_Pin */
  GPIO_InitStruct.Pin = YUN_TAI_TONG_XIN_1_I1_Pin | YUN_TAI_TONG_XIN_2_I2_Pin;
  GPIO_InitStruct.Mode = GPIO_MODE_OUTPUT_PP;
  GPIO_InitStruct.Pull = GPIO_PULLDOWN;
  GPIO_InitStruct.Speed = GPIO_SPEED_FREQ_LOW;
  HAL_GPIO_Init(GPIOF, &GPIO_InitStruct);

  /*Configure GPIO pins : PH2 PH3 PH4 PH5 */
  GPIO_InitStruct.Pin = GPIO_PIN_2 | GPIO_PIN_3 | GPIO_PIN_4 | GPIO_PIN_5;
  GPIO_InitStruct.Mode = GPIO_MODE_OUTPUT_PP;
  GPIO_InitStruct.Pull = GPIO_PULLDOWN;
  GPIO_InitStruct.Speed = GPIO_SPEED_FREQ_LOW;
  HAL_GPIO_Init(GPIOH, &GPIO_InitStruct);

  /*Configure GPIO pins : PD15 PD14 */
  GPIO_InitStruct.Pin = GPIO_PIN_15 | GPIO_PIN_14;
  GPIO_InitStruct.Mode = GPIO_MODE_AF_PP;
  GPIO_InitStruct.Pull = GPIO_NOPULL;
  GPIO_InitStruct.Speed = GPIO_SPEED_FREQ_LOW;
  GPIO_InitStruct.Alternate = GPIO_AF2_TIM4;
  HAL_GPIO_Init(GPIOD, &GPIO_InitStruct);

  /*Configure GPIO pins : qumiao_jiazi_gao_N2_Pin AD7606_CS_O2_Pin
     qumiao_shengjiang_di_L1_Pin qumiao_shengjiang_gao_M1_Pin quqiu_jiazi_N1_Pin
     AD7606_CVA_O1_Pin */
  GPIO_InitStruct.Pin =
      qumiao_jiazi_gao_N2_Pin | AD7606_CS_O2_Pin | qumiao_shengjiang_di_L1_Pin |
      qumiao_shengjiang_gao_M1_Pin | quqiu_jiazi_N1_Pin | AD7606_CVA_O1_Pin;
  GPIO_InitStruct.Mode = GPIO_MODE_OUTPUT_PP;
  GPIO_InitStruct.Pull = GPIO_NOPULL;
  GPIO_InitStruct.Speed = GPIO_SPEED_FREQ_LOW;
  HAL_GPIO_Init(GPIOC, &GPIO_InitStruct);

  /*Configure GPIO pin : PH6 */
  GPIO_InitStruct.Pin = GPIO_PIN_6;
  GPIO_InitStruct.Mode = GPIO_MODE_AF_PP;
  GPIO_InitStruct.Pull = GPIO_NOPULL;
  GPIO_InitStruct.Speed = GPIO_SPEED_FREQ_LOW;
  GPIO_InitStruct.Alternate = GPIO_AF9_TIM12;
  HAL_GPIO_Init(GPIOH, &GPIO_InitStruct);

  /*Configure GPIO pins : PA1 PA2 PA3 */
  GPIO_InitStruct.Pin = GPIO_PIN_1 | GPIO_PIN_2 | GPIO_PIN_3;
  GPIO_InitStruct.Mode = GPIO_MODE_AF_PP;
  GPIO_InitStruct.Pull = GPIO_NOPULL;
  GPIO_InitStruct.Speed = GPIO_SPEED_FREQ_LOW;
  GPIO_InitStruct.Alternate = GPIO_AF1_TIM2;
  HAL_GPIO_Init(GPIOA, &GPIO_InitStruct);

  /*Configure GPIO pin : AD7606_RST_P2_Pin */
  GPIO_InitStruct.Pin = AD7606_RST_P2_Pin;
  GPIO_InitStruct.Mode = GPIO_MODE_OUTPUT_PP;
  GPIO_InitStruct.Pull = GPIO_NOPULL;
  GPIO_InitStruct.Speed = GPIO_SPEED_FREQ_LOW;
  HAL_GPIO_Init(AD7606_RST_P2_GPIO_Port, &GPIO_InitStruct);

  /*Configure GPIO pin : AD7606_BUSY_P1_Pin */
  GPIO_InitStruct.Pin = AD7606_BUSY_P1_Pin;
  GPIO_InitStruct.Mode = GPIO_MODE_IT_FALLING;
  GPIO_InitStruct.Pull = GPIO_PULLUP;
  HAL_GPIO_Init(AD7606_BUSY_P1_GPIO_Port, &GPIO_InitStruct);

  /*Configure GPIO pin : qumiao_jiazi_di_M2_Pin */
  GPIO_InitStruct.Pin = qumiao_jiazi_di_M2_Pin;
  GPIO_InitStruct.Mode = GPIO_MODE_OUTPUT_PP;
  GPIO_InitStruct.Pull = GPIO_NOPULL;
  GPIO_InitStruct.Speed = GPIO_SPEED_FREQ_LOW;
  HAL_GPIO_Init(qumiao_jiazi_di_M2_GPIO_Port, &GPIO_InitStruct);

  /* EXTI interrupt init*/
  HAL_NVIC_SetPriority(EXTI9_5_IRQn, 5, 0);
  HAL_NVIC_EnableIRQ(EXTI9_5_IRQn);

}

void StartDefaultTask(void *argument) {
  /* USER CODE BEGIN 5 */

  /* Infinite loop */
  for (;;) {
    if (SBUS_done == 1) {
      SBUS.CH1 =
          ((int16_t)SBUS_RX_BUF[0] >> 0 | ((int16_t)SBUS_RX_BUF[1] << 8)) &
          0x07FF;
      SBUS.CH2 =
          ((int16_t)SBUS_RX_BUF[1] >> 3 | ((int16_t)SBUS_RX_BUF[2] << 5)) &
          0x07FF;
      SBUS.CH3 =
          ((int16_t)SBUS_RX_BUF[2] >> 6 | ((int16_t)SBUS_RX_BUF[3] << 2) |
           (int16_t)SBUS_RX_BUF[4] << 10) &
          0x07FF;
      SBUS.CH4 =
          ((int16_t)SBUS_RX_BUF[4] >> 1 | ((int16_t)SBUS_RX_BUF[5] << 7)) &
          0x07FF;
      SBUS.CH5 =
          ((int16_t)SBUS_RX_BUF[5] >> 4 | ((int16_t)SBUS_RX_BUF[6] << 4)) &
          0x07FF;
      SBUS.CH6 =
          ((int16_t)SBUS_RX_BUF[6] >> 7 | ((int16_t)SBUS_RX_BUF[7] << 1) |
           (int16_t)SBUS_RX_BUF[8] << 9) &
          0x07FF;
      SBUS.CH7 =
          ((int16_t)SBUS_RX_BUF[8] >> 2 | ((int16_t)SBUS_RX_BUF[9] << 6)) &
          0x07FF;
      SBUS.CH8 =
          ((int16_t)SBUS_RX_BUF[9] >> 5 | ((int16_t)SBUS_RX_BUF[10] << 3)) &
          0x07FF;
      SBUS.CH9 =
          ((int16_t)SBUS_RX_BUF[11] >> 0 | ((int16_t)SBUS_RX_BUF[12] << 8)) &
          0x07FF;
      SBUS.CH10 =
          ((int16_t)SBUS_RX_BUF[12] >> 3 | ((int16_t)SBUS_RX_BUF[13] << 5)) &
          0x07FF;
      SBUS.CH11 =
          ((int16_t)SBUS_RX_BUF[13] >> 6 | ((int16_t)SBUS_RX_BUF[14] << 2) |
           (int16_t)SBUS_RX_BUF[15] << 10) &
          0x07FF;
      SBUS.CH12 =
          ((int16_t)SBUS_RX_BUF[15] >> 1 | ((int16_t)SBUS_RX_BUF[16] << 7)) &
          0x07FF;
      SBUS.CH13 =
          ((int16_t)SBUS_RX_BUF[16] >> 4 | ((int16_t)SBUS_RX_BUF[17] << 4)) &
          0x07FF;
      SBUS.CH14 =
          ((int16_t)SBUS_RX_BUF[17] >> 7 | ((int16_t)SBUS_RX_BUF[18] << 1) |
           (int16_t)SBUS_RX_BUF[19] << 9) &
          0x07FF;
      SBUS.CH15 =
          ((int16_t)SBUS_RX_BUF[19] >> 2 | ((int16_t)SBUS_RX_BUF[20] << 6)) &
          0x07FF;
      SBUS.CH16 =
          ((int16_t)SBUS_RX_BUF[20] >> 5 | ((int16_t)SBUS_RX_BUF[21] << 3)) &
          0x07FF;
      SBUS_done = 0;
    }
    osDelay(1);
  }
  /* USER CODE END 5 */
}

void M3508controlTask(void *argument) {
  /* USER CODE BEGIN M3508controlTask */
  /* Infinite loop */
  for (;;) {
    M3508_Motor_Position_Ctrl();
    M3508_Motor_Speed_Ctrl();
    M3508_Motor_Current_Ctrl();
    M3508_Motor_Current_Ctrl_h();
    osDelay(1);
  }
  /* USER CODE END M3508controlTask */
}

void myTestTask(void *argument) {
  /* USER CODE BEGIN myTestTask */
  /* Infinite loop */
  for (;;) {
    if (SBUS.CH1 != 0)
      SBUS_Send();
    osDelay(1);
  }

  /* USER CODE END myTestTask */
}

/* USER CODE BEGIN Header_M8010controlTask */
/**
 * @brief Function implementing the M8010control thread.
 * @param argument: Not used
 * @retval None
 */
// ������߹�?
double S5S_Plan(double S_Pos, double all_t, double t) {
  double now_Pos = 10 / pow(all_t, 3) * pow(t, 3) -
                   15 / pow(all_t, 4) * pow(t, 4) +
                   6 / pow(all_t, 5) * pow(t, 5);

  return now_Pos * S_Pos;
}

/* USER CODE END Header_M8010controlTask */
void M8010controlTask(void *argument) {
  /* USER CODE BEGIN M8010controlTask */
  MOTOR_M8010_SEND.id = 1;
  MOTOR_M8010_SEND.mode =
      0; // mode = 0
         // ���������ֻ��ȡһ�ε�ǰ�����λ�ýǶ�
  SERVO_Send_recv(&MOTOR_M8010_SEND,
                  &MOTOR_M8010_RECV); // ���ͺͻ�ȡ����
  init_pos = MOTOR_M8010_RECV.Pos; // ��ȡ��ǰ�ĽǶ�
  set_T = 3;
  need_pos =
      0; //-(init_pos - 1.0369) * 180 /
         //(6.33*3.14);//�ϵ��ֱ��ת�������λ��

  while (1) {
    if (t_now < set_T) {
      MOTOR_M8010_SEND.id = 1;
      MOTOR_M8010_SEND.mode = 1;
      //MOTOR_M8010_SEND.K_P = 0.5; // λ�øնȣ���̫��Ҫ�޸ģ������˺ܶ�ε��ĺ����?
      MOTOR_M8010_SEND.K_P = 0.8;
      MOTOR_M8010_SEND.K_W = 0;
      MOTOR_M8010_SEND.Pos =
          init_pos + S5S_Plan(need_pos, set_T, t_now) * 3.14 / 180 *6.33; // ���õ�ǰӦ���ĽǶ�
      MOTOR_M8010_SEND.W = 0;
      MOTOR_M8010_SEND.T = 0.0;
      SERVO_Send_recv(&MOTOR_M8010_SEND,
                      &MOTOR_M8010_RECV); // ���ͺͻ�ȡ����
      //t_now += 0.005;
      t_now += 0.01;
      osDelay(1);
    } else {
      MOTOR_M8010_SEND.id = 1;
      MOTOR_M8010_SEND.mode = 0; // modeΪ0ʱ�����Ϊֹͣģ�?
      SERVO_Send_recv(&MOTOR_M8010_SEND,
                      &MOTOR_M8010_RECV); // ���ͺͻ�ȡ����
      init_pos = MOTOR_M8010_RECV.Pos; // ��ȡ��ǰ�ĽǶ�
      //      if(pos_change_flag == 1){
      //            osDelay(50);
      //            t_now = 0;
      //     pos_change_flag = 0;
      //      }
    }
    osDelay(1);
  }
  /* USER CODE END M8010controlTask */
}

/* USER CODE BEGIN Header_DS5160 */
/**
 * @brief Function implementing the DS5160_duoji thread.
 * @param argument: Not used
 * @retval None
 */
// �ϣ�353 �У�1024�£�1695
/* USER CODE END Header_DS5160 */
void DS5160(void *argument) {
  /* USER CODE BEGIN DS5160 */

  HAL_TIM_PWM_Start(&htim5, TIM_CHANNEL_4);
  HAL_GPIO_WritePin(GPIOC, GPIO_PIN_4, GPIO_PIN_RESET);
  __HAL_TIM_SetCompare(&htim5, TIM_CHANNEL_4, 3000);

  /* Infinite loop */
  for (;;) {
    if (quqiu_duoji) {
      //__HAL_TIM_SetCompare(&htim5, TIM_CHANNEL_4, 2500);
     // HAL_GPIO_WritePin(GPIOC, GPIO_PIN_4, GPIO_PIN_SET);
     // osDelay(400);
      __HAL_TIM_SetCompare(&htim5, TIM_CHANNEL_4, 1050);
      osDelay(500);
      HAL_GPIO_WritePin(GPIOC, GPIO_PIN_4, GPIO_PIN_RESET);
      osDelay(500);
      __HAL_TIM_SetCompare(&htim5, TIM_CHANNEL_4, quqiu_duty);
	  quqiu_duoji = 0;
	  osDelay(1000);
	  need_pos = -rotate_angle[ball_pos_];
	  t_now = 0;
                while (t_now < set_T) {
        osDelay(1);
      }
      HAL_GPIO_WritePin(GPIOC, GPIO_PIN_4, GPIO_PIN_SET);
                	  yuntai_finish = 1;

    }

    osDelay(1);
  }

  /* USER CODE END DS5160 */
}

void shoot_task(void *argument) {
  /* USER CODE BEGIN shoot_task */
  HAL_TIM_PWM_Start(&htim5, TIM_CHANNEL_3);
  __HAL_TIM_SetCompare(&htim5, TIM_CHANNEL_3, 1200);

  /* Infinite loop */
  for (;;) {
    //      if(SBUS.CH6 == 353 && SBUS_Analyse_Switch(SBUS.CH5) != 2){
    //         need_pos = 30;
    //         pos_change_flag = 1;
    //      if(need_pos == 15){
    //        while(fa_qiu_zhuan_xiang_start != 1){
    //        osDelay(5);}
    //        while(t_now < set_T){
    //          osDelay(5);
    //        }
    //        fa_qiu_zhuan_xiang_start = 0;
    //        M3508[1].ExpSpeed = 5000;
    //  M3508[2].ExpSpeed = 3000;
    //  M3508[3].ExpSpeed = -3000;
    //      faqiuduoji = 1;
    //      }
    //
    //      if(need_pos == 30){
    //        while(fa_qiu_zhuan_xiang_start != 1){
    //        osDelay(5);}
    //        while(t_now < set_T){
    //          osDelay(5);
    //        }
    //        fa_qiu_zhuan_xiang_start = 0;
    //        M3508[1].ExpSpeed = 5000;
    //  M3508[2].ExpSpeed = 3200;
    //  M3508[3].ExpSpeed = -3200;
    //      faqiuduoji = 1;}
    //
    //      if(need_pos == 45){
    //        while(fa_qiu_zhuan_xiang_start != 1){
    //        osDelay(5);}
    //        while(t_now < set_T){
    //          osDelay(5);
    //        }
    //        fa_qiu_zhuan_xiang_start = 0;
    //        M3508[1].ExpSpeed = 8000;
    //  M3508[2].ExpSpeed = 3400;
    //  M3508[3].ExpSpeed = -3400;
    //      faqiuduoji = 1;}
    //
    //  if(faqiuduoji == 1){
    //    faqiuduoji = 0;
    //    osDelay(500);
    //    __HAL_TIM_SetCompare(&htim5, TIM_CHANNEL_3,1866);
    //    while(SBUS.CH6 == 353){ osDelay(5);}
    //    M3508[1].ExpSpeed = 0;
    //    M3508[2].ExpSpeed = 0;
    //    M3508[3].ExpSpeed = 0;
    //     __HAL_TIM_SetCompare(&htim5, TIM_CHANNEL_3,1200);
    //     pos_change_flag = 1; need_pos = -need_pos;
    //     t_now = 0;
    //     staus_dipan = 3;
    //  }

    osDelay(5);
  }
  /* USER CODE END shoot_task */
}

void transmit_zero_(void *argument) {
  /* USER CODE BEGIN transmit_zero_ */
  HAL_TIM_PWM_Start(&htim5, TIM_CHANNEL_2);
  HAL_TIM_PWM_Start(&htim5, TIM_CHANNEL_1);
  // jiguang_duoji
  HAL_TIM_PWM_Start(&htim8, TIM_CHANNEL_2);
  HAL_TIM_PWM_Start(&htim8, TIM_CHANNEL_3);
  osDelay(5000);
  yuntai_init_pos = init_pos;
  /* Infinite loop */
  for (;;) {
    //      switch(SBUS_Analyse_Switch(SBUS.CH5)){
    //  case 2://��
    // need_pos = 46;
    //    pos_change_flag = 1;
    //    osDelay(500);
    //    while(SBUS_Analyse_Switch(SBUS.CH5) == 2);
    //
    //
    //   //  Robot.Robot_in_world.velocity_exp.Vx = 1000;
    ////    if(SBUS.CH6 != 353){
    ////     need_pos = -30;
    ////     pos_change_flag = 1;
    ////    }
    ////
    //    break;
    //    case 1://�м�
    //   // Robot.Robot_in_world.velocity_exp.Vy = 1000;
    //    break;
    //    case 0://����
    ////      Robot.Robot_in_world.velocity_exp.Vx = 0;
    ////      Robot.Robot_in_world.velocity_exp.Vy = 0;
    if (bin == duoji_ok) {
      __HAL_TIM_SetCompare(&htim5, TIM_CHANNEL_2, 1720);
      __HAL_TIM_SetCompare(&htim5, TIM_CHANNEL_1, 4160);
      __HAL_TIM_SetCompare(&htim5, TIM_CHANNEL_4, 2500);
//      HAL_GPIO_WritePin(GPIOC, GPIO_PIN_4, GPIO_PIN_SET);
      bin = 0;
      // staus_dipan = 2;
    } else if (bin == 2) {
      fangmiao = 1;
      bin = 0;
    } else if (bin == 4) {
      qumiao = 0;
      bin = 0;
    } else if (bin == 3) {
      qumiao = 1;
      bin = 0;
    } else if (bin == 5) {
      chongzhi = 1;
      bin = 0;
    } else if (bin == 6) {
      staus_dipan = 0;
      bin = 0;
    } else if (bin == 7) {
      __HAL_TIM_SetCompare(&htim8, TIM_CHANNEL_2, 135);
      __HAL_TIM_SetCompare(&htim8, TIM_CHANNEL_3, 175);
      osDelay(200);
      staus_dipan = 4;
      bin = 0;
    } else if (bin == 8) {
      quqiu_duoji = 1;
      bin = 0;
    } else if (bin == 9) {
      bin = 0;
//      need_pos = -rotate_angle[ball_pos_];
//      t_now = 0;
//      while (t_now < set_T) {
//        osDelay(1);
//      }
	  while(!yuntai_finish){
	  	osDelay(1);
	  }
	  yuntai_finish = 0;
      M3508[1].ExpSpeed = back_rotate_speed[ball_pos_];
      M3508[2].ExpSpeed = shoot_speed_left[ball_pos_];
      M3508[3].ExpSpeed = -shoot_speed_right[ball_pos_];

      osDelay(500);
      __HAL_TIM_SetCompare(&htim5, TIM_CHANNEL_3, 1866);
      osDelay(1500);
      M3508[1].ExpSpeed = 0;
      M3508[2].ExpSpeed = 0;
      M3508[3].ExpSpeed = 0;
      __HAL_TIM_SetCompare(&htim5, TIM_CHANNEL_3, 1200);
      need_pos = (yuntai_init_pos - init_pos)*180/(3.14*6.33); //rotate_angle[ball_pos_];
        t_now = 0;
      while (t_now < set_T) {
        osDelay(1);
      }
    }
	else if(bin >= 10 && bin <= 21){
		ball_pos_ = bin - 10;
		bin = 0;
	}
    	else if(bin == 22){
          HAL_GPIO_WritePin(GPIOC, GPIO_PIN_4, GPIO_PIN_SET);
	__HAL_TIM_SetCompare(&htim5, TIM_CHANNEL_2, 3600);
        __HAL_TIM_SetCompare(&htim5, TIM_CHANNEL_1, 1750);
        bin = 0;
	}
    osDelay(1);
    // break;

    //}
  }
  /* USER CODE END transmit_zero_ */
}

void chuansongdai_Task(void *argument) {
  /* USER CODE BEGIN chuansongdai_Task */

  /* Infinite loop */
  for (;;) {

    if (HAL_GPIO_ReadPin(GPIOI, GPIO_PIN_2) == 0 && qumiao == 0) {
      staus_dipan = 1;
     // HAL_GPIO_WritePin(GPIOB, GPIO_PIN_1, GPIO_PIN_SET);

      HAL_GPIO_WritePin(GPIOC, GPIO_PIN_0, GPIO_PIN_SET);
      osDelay(300);
      //HAL_GPIO_WritePin(GPIOC, GPIO_PIN_2, GPIO_PIN_SET);
      HAL_GPIO_WritePin(GPIOC, GPIO_PIN_3, GPIO_PIN_SET);
      qumiao = 1;
    }

//    if ((fangmiao == 1 && qumiao == 1)) {
//      HAL_GPIO_WritePin(GPIOC, GPIO_PIN_2, GPIO_PIN_RESET);
//      // HAL_GPIO_WritePin(GPIOH, GPIO_PIN_4,GPIO_PIN_RESET);
//      osDelay(500);
//      HAL_GPIO_WritePin(GPIOB, GPIO_PIN_1, GPIO_PIN_RESET);
//
//      // HAL_GPIO_WritePin(GPIOH, GPIO_PIN_2,GPIO_PIN_SET);
//    }
    if (fangmiao == 1 && qumiao == 1) {
      HAL_GPIO_WritePin(GPIOC, GPIO_PIN_3, GPIO_PIN_RESET);
      // HAL_GPIO_WritePin(GPIOH, GPIO_PIN_5,GPIO_PIN_RESET);
      osDelay(500);
      HAL_GPIO_WritePin(GPIOC, GPIO_PIN_0, GPIO_PIN_RESET);
      // HAL_GPIO_WritePin(GPIOH, GPIO_PIN_3,GPIO_PIN_RESET);
      fangmiao = 0;
    }
    osDelay(1);
  }
  /* USER CODE END chuansongdai_Task */
}

void CCDTask(void *argument) {
  /* USER CODE BEGIN CCDTask */
  // CCDCONCTROL();

  /* Infinite loop */
  for (;;) {
    osDelay(5);
  }
  /* USER CODE END CCDTask */
}

void GM6020Task(void *argument) {
  /* USER CODE BEGIN GM6020Task */
  /* Infinite loop */
  for (;;) {
    // GM6030_Motor_Position_Ctrl();
    // GM6030_Motor_Speed_Ctrl();
    // GM6030_Motor_Current_Ctrl();
    // GM6030_Motor_Current_Ctrl_h();

    osDelay(1);
  }
  /* USER CODE END GM6020Task */
}

void jiguang_task(void *argument) {
  /* USER CODE BEGIN jiguang_task */
  HAL_GPIO_WritePin(AD7606_RST_P2_GPIO_Port, AD7606_RST_P2_Pin, GPIO_PIN_RESET);
  // 16��gnd��
  HAL_GPIO_WritePin(AD7606_CVA_O1_GPIO_Port, AD7606_CVA_O1_Pin, GPIO_PIN_SET);
  HAL_GPIO_WritePin(AD7606_CS_O2_GPIO_Port, AD7606_CS_O2_Pin, GPIO_PIN_SET);

  HAL_GPIO_WritePin(AD7606_RST_P2_GPIO_Port, AD7606_RST_P2_Pin, GPIO_PIN_SET);
  __NOP();
  __NOP();
  __NOP();
  __NOP();
  __NOP();
  HAL_GPIO_WritePin(AD7606_RST_P2_GPIO_Port, AD7606_RST_P2_Pin, GPIO_PIN_RESET);

  HAL_GPIO_WritePin(AD7606_CVA_O1_GPIO_Port, AD7606_CVA_O1_Pin, GPIO_PIN_RESET);
  for (uint8_t i = 0; i < 8; i++) {
    __NOP();
  }
  HAL_GPIO_WritePin(AD7606_CVA_O1_GPIO_Port, AD7606_CVA_O1_Pin, GPIO_PIN_SET);
  /* Infinite loop */
  for (;;) {
    if (flag_ad7606) {
      HAL_GPIO_WritePin(AD7606_CVA_O1_GPIO_Port, AD7606_CVA_O1_Pin,
                        GPIO_PIN_RESET);
      for (uint8_t i = 0; i < 16; i++) {
        __NOP();
      }
      HAL_GPIO_WritePin(AD7606_CVA_O1_GPIO_Port, AD7606_CVA_O1_Pin,
                        GPIO_PIN_SET);
      flag_ad7606 = 0;
    }
    osDelay(1);
  }
  /* USER CODE END jiguang_task */
}

void IMU_TASK(void *argument) {
  /* USER CODE BEGIN IMU_TASK */
  /* Infinite loop */
  for (;;) {
    imu_data.yaw[0] = (raw.imu.eul[2]) * 3.141592 / 180;
    imu_data.yaw[1] = (raw.imu.gyr[2]) * 3.141592 / 180;
	if(SBUS_Analyse_Switch(SBUS.CH7) == 0){
                    HAL_GPIO_WritePin(GPIOC, GPIO_PIN_4, GPIO_PIN_SET);
	  __HAL_TIM_SetCompare(&htim5, TIM_CHANNEL_2, 3600);
      __HAL_TIM_SetCompare(&htim5, TIM_CHANNEL_1, 1750);
	}
	else if(SBUS_Analyse_Switch(SBUS.CH7) == 2){
                    HAL_GPIO_WritePin(GPIOC, GPIO_PIN_4, GPIO_PIN_RESET);
	  __HAL_TIM_SetCompare(&htim5, TIM_CHANNEL_2, 1720);
      __HAL_TIM_SetCompare(&htim5, TIM_CHANNEL_1, 4160);
	}
    osDelay(1);
  }
  /* USER CODE END IMU_TASK */
}

void Error_Handler(void) {
  __disable_irq();
  while (1) {
  }
}

#ifdef USE_FULL_ASSERT
/**
 * @brief  Reports the name of the source file and the source line number
 *         where the assert_param error has occurred.
 * @param  file: pointer to the source file name
 * @param  line: assert_param error line source number
 * @retval None
 */
void assert_failed(uint8_t *file, uint32_t line) {
  /* USER CODE BEGIN 6 */
  /* User can add his own implementation to report the file name and line
     number, ex: printf("Wrong parameters value: file %s on line %d\r\n", file,
     line) */
  /* USER CODE END 6 */
}
#endif /* USE_FULL_ASSERT */
